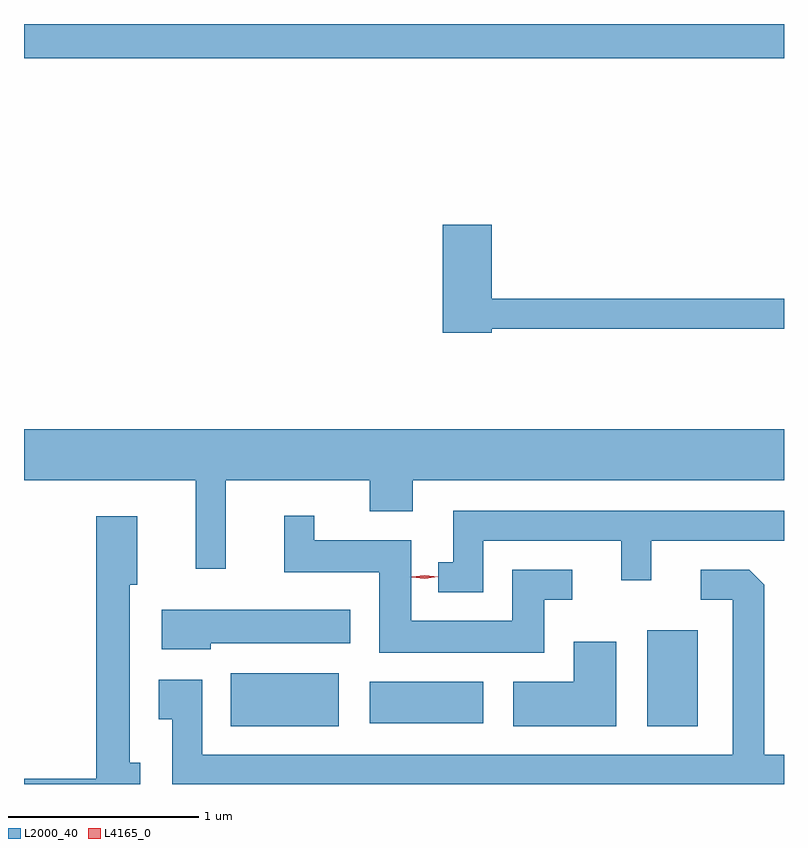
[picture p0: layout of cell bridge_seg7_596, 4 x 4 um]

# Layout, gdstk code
import gdstk
lib = gdstk.Library(unit=1e-6, precision=1e-09)
def R(c, l, rs):  # rectangles x0, y0, x1, y1
    for r in rs: c.add(gdstk.rectangle(r[:2], r[2:], *l))
def P(c, l, *ps):  # polygons
    for p in ps: c.add(gdstk.Polygon(p, *l))
L2000_40 = (2000, 40)
L4165_0 = (4165, 0)

bridge_seg7_596 = lib.new_cell('bridge_seg7_596')
R(bridge_seg7_596, L2000_40, [(798.751,1704.141,799.319,1704.419), (800.941,1704.141,801.209,1704.644), (799.481,1704.156,800.079,1704.374), (797.662,1707.656,801.662,1707.836)])
P(bridge_seg7_596, L2000_40, [(800.124,1706.231),(801.662,1706.231),(801.662,1706.389),(800.124,1706.389),(800.124,1706.779),(799.866,1706.779),(799.866,1706.211),(800.124,1706.211)],
  [(798.724,1705.436),(799.481,1705.436),(799.481,1705.271),(799.709,1705.271),(799.709,1705.436),(801.662,1705.436),(801.662,1705.704),(797.662,1705.704),(797.662,1705.436),(798.566,1705.436),(798.566,1704.968),(798.724,1704.968)],
  [(800.079,1705.116),(800.806,1705.116),(800.806,1704.908),(800.964,1704.908),(800.964,1705.116),(801.662,1705.116),(801.662,1705.274),(799.921,1705.274),(799.921,1705.004),(799.843,1705.004),(799.843,1704.846),(800.079,1704.846)],
  [(800.399,1704.806),(800.548,1704.806),(800.548,1704.964),(800.231,1704.964),(800.231,1704.694),(799.699,1704.694),(799.699,1705.119),(799.189,1705.119),(799.189,1705.248),(799.031,1705.248),(799.031,1704.951),(799.531,1704.951),(799.531,1704.526),(800.399,1704.526)],
  [(798.274,1703.949),(798.219,1703.949),(798.219,1704.886),(798.259,1704.886),(798.259,1705.244),(798.041,1705.244),(798.041,1703.864),(797.662,1703.864),(797.662,1703.836),(798.274,1703.836)],
  [(801.662,1703.989),(801.559,1703.989),(801.559,1704.884),(801.479,1704.964),(801.223,1704.964),(801.223,1704.806),(801.391,1704.806),(801.391,1703.989),(798.599,1703.989),(798.599,1704.384),(798.371,1704.384),(798.371,1704.176),(798.441,1704.176),(798.441,1703.836),(801.662,1703.836)],
  [(798.644,1704.576),(799.379,1704.576),(799.379,1704.754),(798.386,1704.754),(798.386,1704.546),(798.644,1704.546)],
  [(800.779,1704.584),(800.556,1704.584),(800.556,1704.374),(800.236,1704.374),(800.236,1704.141),(800.779,1704.141)])
P(bridge_seg7_596, L4165_0, [(799.772,1704.916),(799.702,1704.925),(799.702,1704.926),(799.702,1704.926),(799.772,1704.936),(799.841,1704.927),(799.841,1704.926),(799.841,1704.926)])

lib.write_gds('bridge_seg7_596.gds')
